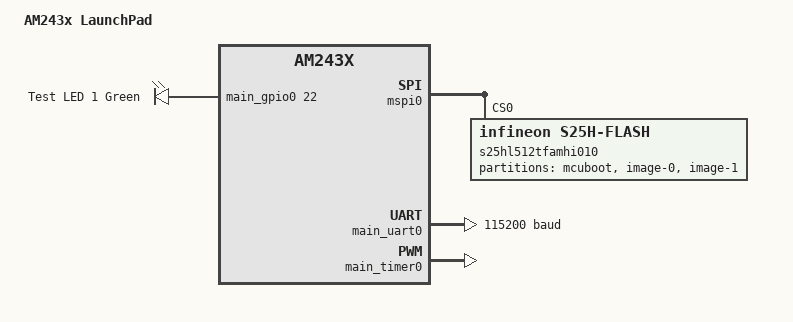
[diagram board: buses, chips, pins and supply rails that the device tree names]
/*
 * Copyright (c) 2025 Siemens Mobility GmbH
 *
 * SPDX-License-Identifier: Apache-2.0
 */

/dts-v1/;

#include <ti/am64x_r5.dtsi>
#include "am243x_launchpad_r5f0_0-pinctrl.dtsi"
#include <zephyr/dt-bindings/gpio/gpio.h>

/ {
	model = "AM243x LaunchPad";
	compatible = "ti,am243x_launchpad";

	chosen {
		zephyr,console = &main_uart0;
		zephyr,shell-uart = &main_uart0;
		zephyr,sram = &sram_r5f0_0;
		zephyr,flash = &s25hl512tfamhi010;
		zephyr,flash-controller = &s25hl512tfamhi010;
	};

	leds {
		compatible = "gpio-leds";
		led0: led_0 {
			gpios = <&main_gpio0 22 GPIO_ACTIVE_HIGH>;
			label = "Test LED 1 Green";
		};

		// the other leds can't be controlled due to
		// https://github.com/zephyrproject-rtos/zephyr/issues/81100
	};

	aliases {
		led0 = &led0;
	};

};

&mspi0 {
	pinctrl-0 = <&ospi_clk &ospi_d0 &ospi_d1 &ospi_d2 &ospi_d3 &ospi_dqs &ospi_lbclko>;
	pinctrl-names = "default";
	#address-cells = <1>;
	#size-cells = <0>;

	s25hl512tfamhi010: qspi-nor-flash@0 {
		compatible = "infineon,s25h-flash";
		reg = <0>;

		write-block-size = <256>;
		erase-block-size = <262144>;
		flash-size = <DT_SIZE_M(64)>;

		pinctrl-0 = <&ospi_csn0>;
		pinctrl-names = "default";

		reset-startup-time-us = <600>;

		mspi-max-frequency = <DT_FREQ_M(50)>;

		mspi-io-mode = "MSPI_IO_MODE_SINGLE";
		mspi-data-rate = "MSPI_DATA_RATE_SINGLE";
		mspi-hardware-ce-num = <0>;
		mspi-cpp-mode = "MSPI_CPP_MODE_0";
		mspi-ce-polarity = "MSPI_CE_ACTIVE_LOW";
		address-length = "ADDR_3_BYTE";
		command-length = "INSTR_1_BYTE";

		partitions {
			compatible = "fixed-partitions";
			#address-cells = <1>;
			#size-cells = <1>;

			/* This boot partition needs to be larger since the AM243x has a special
			 * image format that includes X509 certificates and another firmware!
			 */
			boot_partition: partition@0 {
				label = "mcuboot";
				reg = <0x00000000 DT_SIZE_K(512)>;
			};

			slot0_partition: partition@80000 {
				label = "image-0";
				reg = <0x00080000 DT_SIZE_K(256)>;
			};

			slot1_partition: partition@c00000 {
				label = "image-1";
				reg = <0x00c00000 DT_SIZE_K(256)>;
			};
		};

		status = "okay";
	};
	status = "okay";
};

&main_uart0 {
	status = "okay";
	pinctrl-0 = <&uart0_tx_default &uart0_rx_default>;
	pinctrl-names = "default";
	current-speed = <115200>;
};

&main_gpio0 {
	status = "okay";
	pinctrl-0 = <&led0_output>;
	pinctrl-names = "default";
};

&main_timer0 {
	status = "okay";
};
